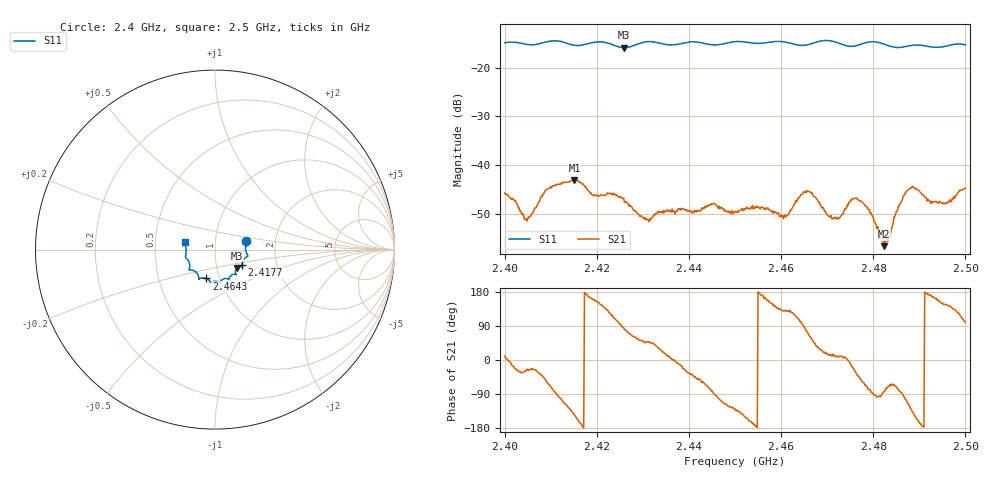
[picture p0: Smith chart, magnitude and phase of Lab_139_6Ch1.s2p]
# Hz S RI R 50
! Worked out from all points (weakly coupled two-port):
!   601 points, 2.4 GHz to 2.5 GHz, reference 50 ohm
!   highest |S21| = -42.96 dB at 2.4152 GHz (marker M1); lowest = -56.5 dB at 2.4823 GHz (marker M2)
!   lowest |S11| = -16.0 dB at 2.4258 GHz (marker M3), VSWR 1.38, Z = 62.4 - j13.1 ohm
!   |S11| at or under -10 dB: start of sweep to end of sweep
!   S12 and S22 are empty: the file has one direction only
!   S11 on the Smith chart (normalised r, x): 2.4 GHz: 1.41, +0.14; 2.4177 GHz: 1.33, -0.23; 2.4643 GHz: 0.86, -0.29; 2.5 GHz: 0.71, +0.06
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2.4e9  0.173 0.0476  0.00516 0.000928  0 0  0 0
2.404833e9  0.1712 0.0176  0.00248 -0.0011  0 0  0 0
2.409167e9  0.1809 -0.0305  0.00294 -0.00492  0 0  0 0
2.415167e9  0.1587 -0.0561  -0.00584 -0.00406  0 0  0 0
2.416667e9  0.152 -0.0732  -0.00652 -0.00114  0 0  0 0
2.417667e9  0.1507 -0.0847  -0.006 0.000693  0 0  0 0
2.425833e9  0.1219 -0.1021  0.000439 0.00464  0 0  0 0
2.430833e9  0.1185 -0.14  0.00187 0.00211  0 0  0 0
2.433333e9  0.1142 -0.1376  0.00292 0.00176  0 0  0 0
2.445333e9  0.0537 -0.1616  0.000115 -0.00408  0 0  0 0
2.45e9  0.0275 -0.1817  -0.00215 -0.00264  0 0  0 0
2.461e9  -0.0277 -0.1795  -0.00196 0.00223  0 0  0 0
2.464333e9  -0.049 -0.1608  -0.000907 0.00498  0 0  0 0
2.466667e9  -0.0759 -0.1583  0.00294 0.00443  0 0  0 0
2.4715e9  -0.0891 -0.1611  0.00282 0.000656  0 0  0 0
2.477e9  -0.1267 -0.1144  0.00303 -0.00314  0 0  0 0
2.482333e9  -0.1412 -0.1005  0.000188 -0.00149  0 0  0 0
2.483333e9  -0.1403 -0.0906  0.00065 -0.00174  0 0  0 0
2.485333e9  -0.1449 -0.0677  0.000874 -0.00353  0 0  0 0
2.488e9  -0.1604 -0.0481  -0.00339 -0.00476  0 0  0 0
2.4955e9  -0.1635 0.0158  -0.00342 0.00223  0 0  0 0
2.5e9  -0.165 0.0439  -0.00094 0.00579  0 0  0 0
